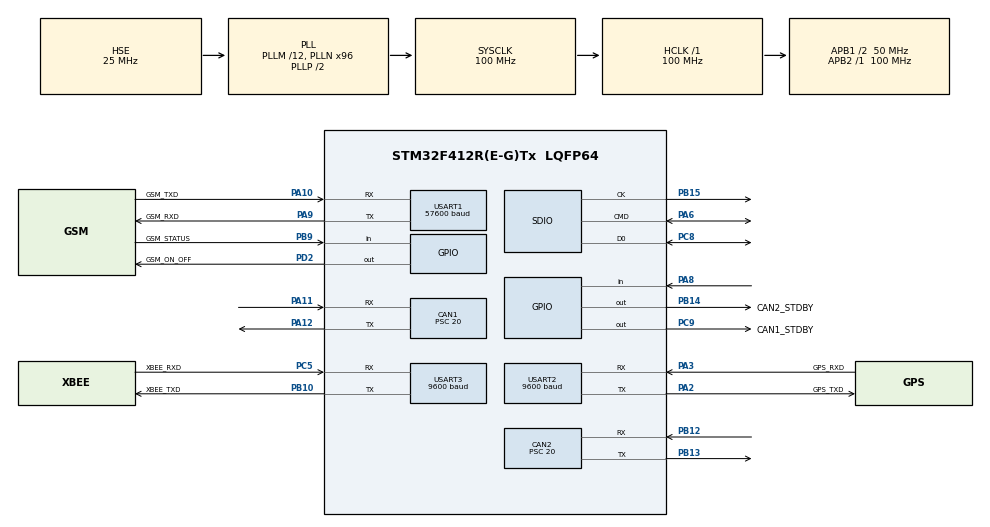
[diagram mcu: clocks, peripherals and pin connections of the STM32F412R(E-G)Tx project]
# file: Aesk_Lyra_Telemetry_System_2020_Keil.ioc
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CAN1.ABOM=ENABLE
CAN1.BS1=CAN_BS1_8TQ
CAN1.CalculateTimeQuantum=400.0
CAN1.Prescaler=20
CAN2.ABOM=ENABLE
CAN2.BS1=CAN_BS1_8TQ
CAN2.CalculateTimeQuantum=400.0
CAN2.Prescaler=20
Dma.Request0=SDIO_TX
Dma.Request1=SDIO_RX
Dma.SDIO_RX.1.Direction=DMA_PERIPH_TO_MEMORY
Dma.SDIO_RX.1.FIFOMode=DMA_FIFOMODE_ENABLE
Dma.SDIO_RX.1.FIFOThreshold=DMA_FIFO_THRESHOLD_FULL
Dma.SDIO_RX.1.Instance=DMA2_Stream6
Dma.SDIO_RX.1.MemBurst=DMA_MBURST_INC4
Dma.SDIO_RX.1.MemDataAlignment=DMA_MDATAALIGN_WORD
Dma.SDIO_RX.1.MemInc=DMA_MINC_ENABLE
Dma.SDIO_RX.1.Mode=DMA_PFCTRL
Dma.SDIO_RX.1.PeriphBurst=DMA_PBURST_INC4
Dma.SDIO_RX.1.PeriphDataAlignment=DMA_PDATAALIGN_WORD
Dma.SDIO_RX.1.PeriphInc=DMA_PINC_DISABLE
Dma.SDIO_RX.1.Priority=DMA_PRIORITY_LOW
Dma.SDIO_TX.0.Direction=DMA_MEMORY_TO_PERIPH
Dma.SDIO_TX.0.FIFOMode=DMA_FIFOMODE_ENABLE
Dma.SDIO_TX.0.FIFOThreshold=DMA_FIFO_THRESHOLD_FULL
Dma.SDIO_TX.0.Instance=DMA2_Stream3
Dma.SDIO_TX.0.MemBurst=DMA_MBURST_INC4
Dma.SDIO_TX.0.MemDataAlignment=DMA_MDATAALIGN_WORD
Dma.SDIO_TX.0.MemInc=DMA_MINC_ENABLE
Dma.SDIO_TX.0.Mode=DMA_PFCTRL
Dma.SDIO_TX.0.PeriphBurst=DMA_PBURST_INC4
Dma.SDIO_TX.0.PeriphDataAlignment=DMA_PDATAALIGN_WORD
Dma.SDIO_TX.0.PeriphInc=DMA_PINC_DISABLE
Dma.SDIO_TX.0.Priority=DMA_PRIORITY_LOW
FATFS._MAX_SS=4096
FATFS._USE_LFN=1
FATFS._USE_STRFUNC=2
Mcu.Family=STM32F4
Mcu.Name=STM32F412R(E-G)Tx
Mcu.Package=LQFP64
NVIC.CAN1_RX0_IRQn=true\:0\:0\:false\:false\:true\:true\:true
NVIC.CAN1_RX1_IRQn=true\:0\:0\:false\:false\:true\:true\:true
NVIC.CAN2_RX0_IRQn=true\:0\:0\:false\:false\:true\:true\:true
NVIC.CAN2_RX1_IRQn=true\:0\:0\:false\:false\:true\:true\:true
NVIC.DMA2_Stream3_IRQn=true\:0\:0\:false\:false\:true\:false\:true
NVIC.DMA2_Stream6_IRQn=true\:0\:0\:false\:false\:true\:false\:true
NVIC.PriorityGroup=NVIC_PRIORITYGROUP_4
NVIC.SDIO_IRQn=true\:0\:0\:false\:false\:true\:true\:true
NVIC.TIM6_IRQn=true\:2\:0\:true\:false\:true\:true\:true
NVIC.USART1_IRQn=true\:1\:0\:true\:false\:true\:true\:true
NVIC.USART2_IRQn=true\:1\:0\:true\:false\:true\:true\:true
NVIC.USART3_IRQn=true\:3\:0\:true\:false\:true\:true\:true
PA10.GPIO_Label=GSM_TXD
PA10.Mode=Asynchronous
PA10.Signal=USART1_RX
PA11.Mode=Master
PA11.Signal=CAN1_RX
PA12.Mode=Master
PA12.Signal=CAN1_TX
PA13.Mode=Serial_Wire
PA13.Signal=SYS_JTMS-SWDIO
PA14.Mode=Serial_Wire
PA14.Signal=SYS_JTCK-SWCLK
PA2.GPIO_Label=GPS_TXD
PA2.Mode=Asynchronous
PA2.Signal=USART2_TX
PA3.GPIO_Label=GPS_RXD
PA3.Mode=Asynchronous
PA3.Signal=USART2_RX
PA6.Mode=SD_1_bit
PA6.Signal=SDIO_CMD
PA8.Signal=GPIO_Input
PA9.GPIO_Label=GSM_RXD
PA9.Mode=Asynchronous
PA9.Signal=USART1_TX
PB10.GPIO_Label=XBEE_TXD
PB10.Mode=Asynchronous
PB10.Signal=USART3_TX
PB12.Mode=Slave
PB12.Signal=CAN2_RX
PB13.Mode=Slave
PB13.Signal=CAN2_TX
PB14.GPIO_Label=CAN2_STDBY
PB14.Signal=GPIO_Output
PB15.Mode=SD_1_bit
PB15.Signal=SDIO_CK
PB9.GPIO_Label=GSM_STATUS
PB9.GPIO_PuPd=GPIO_PULLDOWN
PB9.Signal=GPIO_Input
PC14-OSC32_IN.Mode=LSE-External-Oscillator
PC14-OSC32_IN.Signal=RCC_OSC32_IN
PC15-OSC32_OUT.Mode=LSE-External-Oscillator
PC15-OSC32_OUT.Signal=RCC_OSC32_OUT
PC5.GPIO_Label=XBEE_RXD
PC5.Mode=Asynchronous
PC5.Signal=USART3_RX
PC8.Mode=SD_1_bit
PC8.Signal=SDIO_D0
PC9.GPIO_Label=CAN1_STDBY
PC9.Signal=GPIO_Output
PD2.GPIO_Label=GSM_ON_OFF
PD2.Signal=GPIO_Output
PH0\ -\ OSC_IN.Mode=HSE-External-Oscillator
PH0\ -\ OSC_IN.Signal=RCC_OSC_IN
PH1\ -\ OSC_OUT.Mode=HSE-External-Oscillator
PH1\ -\ OSC_OUT.Signal=RCC_OSC_OUT
ProjectManager.HeapSize=0x200
ProjectManager.StackSize=0x400
ProjectManager.TargetToolchain=MDK-ARM V5.27
RCC.AHBFreq_Value=100000000
RCC.APB1CLKDivider=RCC_HCLK_DIV2
RCC.APB1Freq_Value=50000000
RCC.APB1TimFreq_Value=100000000
RCC.APB2Freq_Value=100000000
RCC.APB2TimFreq_Value=100000000
RCC.CortexFreq_Value=100000000
RCC.HCLKFreq_Value=100000000
RCC.PLLM=12
RCC.PLLN=96
RCC.PLLQ=4
RCC.PLLSourceVirtual=RCC_PLLSOURCE_HSE
RCC.RCC_RTC_Clock_Source=RCC_RTCCLKSOURCE_LSE
RCC.RCC_RTC_Clock_SourceVirtual=RCC_RTCCLKSOURCE_LSE
RCC.SYSCLKFreq_VALUE=100000000
RCC.SYSCLKSource=RCC_SYSCLKSOURCE_PLLCLK
RCC.USBFreq_Value=50000000
RCC.VCOOutputFreq_Value=200000000
TIM6.Period=99
TIM6.Prescaler=999
USART1.BaudRate=57600
USART1.VirtualMode=VM_ASYNC
USART2.BaudRate=9600
USART2.VirtualMode=VM_ASYNC
USART3.BaudRate=9600
USART3.VirtualMode=VM_ASYNC
VP_FATFS_VS_SDIO.Mode=SDIO
VP_RTC_VS_RTC_Activate.Mode=RTC_Enabled
VP_TIM6_VS_ClockSourceINT.Mode=Enable_Timer
board=custom

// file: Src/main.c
/* USER CODE BEGIN Header */
/**
  ******************************************************************************
  * @file           : main.c
  * @brief          : Main program body
  ******************************************************************************
  * @attention
  *
  * <h2><center>&copy; Copyright (c) 2020 STMicroelectronics.
  * All rights reserved.</center></h2>
  *
  * This software component is licensed by ST under Ultimate Liberty license
  * SLA0044, the "License"; You may not use this file except in compliance with
  * the License. You may obtain a copy of the License at:
  *                             www.st.com/SLA0044
  *
  ******************************************************************************
  */
/* USER CODE END Header */

#include "main.h"
#include "fatfs.h"

/* USER CODE BEGIN Includes */
#include "stdio.h"
#include "SIM800MQTT.h"
#include "AESK_CAN_Library.h"
#include "AESK_Gps_lib.h"
#include "TelemetryGlobalvar.h"
#include "Can_Lyra_Header.h"
#include "AESK_Data_Pack_lib.h"
#include "stdarg.h"
/* USER CODE END Includes */

CAN_HandleTypeDef hcan1;
CAN_HandleTypeDef hcan2;

RTC_HandleTypeDef hrtc;

SD_HandleTypeDef hsd;
DMA_HandleTypeDef hdma_sdio_tx;
DMA_HandleTypeDef hdma_sdio_rx;

TIM_HandleTypeDef htim6;

UART_HandleTypeDef huart1;
UART_HandleTypeDef huart2;
UART_HandleTypeDef huart3;

/* USER CODE BEGIN PV */
int SetTime = 0;
int SetDate = 0;
AESK_CAN_Struct aesk_can;
Time_Task_union time_task;
Xbee_Datas xbee_data;
Gsm_Datas gsm_data;
MQTTPacket_connectData connectData = MQTTPacket_connectData_initializer;
MQTTString topicString = MQTTString_initializer;
LyraDatas lyradata;
Sd_Card_Datas sd_card_data;
GPS_Handle gps_data;

RTC_TimeTypeDef rtctime;
RTC_DateTypeDef rtcdate;

RTC_TimeTypeDef sTime;
RTC_DateTypeDef sDate;

/* USER CODE END PV */

void SystemClock_Config(void);
static void MX_GPIO_Init(void);
static void MX_IT_Init(void);
static void MX_CAN1_Init(void);
static void MX_CAN2_Init(void);
static void MX_SDIO_SD_Init(void);
static void MX_TIM6_Init(void);
static void MX_USART1_UART_Init(void);
static void MX_USART2_UART_Init(void);
static void MX_USART3_UART_Init(void);
static void MX_RTC_Init(void);
/* USER CODE BEGIN PFP */
void Gsm_Calibration(Gsm_Datas* gsm_data);
void createMQTTPackage(LyraDatas *lyradata, GPS_Handle*gps_data, uint8_t* packBuf, uint16_t *index);
void RTC_Set_Time_Date(void);
void vars_to_str(char *buffer, const char *format, ...);

/* USER CODE END PFP */

int main(void)
{

  /* MCU Configuration--------------------------------------------------------*/

  /* Reset of all peripherals, Initializes the Flash interface and the Systick. */
  HAL_Init();

  /* Configure the system clock */
  SystemClock_Config();

  /* Initialize all configured peripherals */
  MX_GPIO_Init();
  MX_IT_Init();
  MX_CAN1_Init();
  MX_CAN2_Init();
  MX_SDIO_SD_Init();
  MX_TIM6_Init();
  MX_USART1_UART_Init();
  MX_USART2_UART_Init();
  MX_USART3_UART_Init();
  MX_RTC_Init();
  MX_FATFS_Init();
  /* USER CODE BEGIN 2 */
   gsm_data.gsm_uart = &huart1;
   MX_RTC_Init();
   RTC_Set_Time_Date();

   if(f_mount(&sd_card_data.myFATAFS,(TCHAR const *)SDPath, 1) == FR_OK)
   {
	   HAL_RTC_GetTime(&hrtc, &sTime, RTC_FORMAT_BIN);
	   HAL_RTC_GetDate(&hrtc, &sDate, RTC_FORMAT_BIN);
	   vars_to_str(sd_card_data.path, "%d_%d_%d_%d_%d_%d_(%d).txt", sDate.Date, sDate.Month, sDate.Year, sTime.Hours, sTime.Minutes, sTime.Seconds, sd_card_data.logger_u32);
	   sd_card_data.state = SD_Card_Detect;
   }

   if((GSM_STATUS_GPIO_Port->IDR & GSM_STATUS_Pin) == (uint32_t)GPIO_PIN_RESET)
   {
			GSM_ON_OFF_GPIO_Port->BSRR = GSM_ON_OFF_Pin;
	    HAL_Delay(1500);
	    GSM_ON_OFF_GPIO_Port->BSRR = GSM_ON_OFF_Pin << 16U;
   }

   else
   {
			HAL_UART_Transmit(gsm_data.gsm_uart, (uint8_t*)RESET_AT_COMMAND, (uint16_t)strlen(RESET_AT_COMMAND), HAL_DELAY);
   }

   while((GSM_STATUS_GPIO_Port->IDR & GSM_STATUS_Pin) == (uint32_t)GPIO_PIN_RESET)
   {
	   ;
   }

		AESK_CAN_ExtIDListFilterConfiguration(&aesk_can, DRIVER_CUR_VOLT, CAN_RX_FIFO0, 0);
		AESK_CAN_ExtIDListFilterConfiguration(&aesk_can, DRIVER_STATE_AREA, CAN_RX_FIFO0, 2);
		AESK_CAN_ExtIDListFilterConfiguration(&aesk_can, BMS_MEASUREMENTS, CAN_RX_FIFO0, 6);
		AESK_CAN_ExtIDListFilterConfiguration(&aesk_can, BMS_STATE_DATA, CAN_RX_FIFO0, 7);
	  AESK_CAN_Init(&aesk_can, CAN_IT_RX_FIFO0_MSG_PENDING);
  /* CAN1 WAKE - CAN2 SLEEP*/
		CAN2_STDBY_GPIO_Port->BSRR = CAN2_STDBY_Pin;
		CAN1_STDBY_GPIO_Port->BSRR = (uint32_t)CAN1_STDBY_Pin << 16U;
  //////////////////////////
    HAL_UART_Receive_IT(gsm_data.gsm_uart, &gsm_data.receivegsmdata, 1);
    HAL_UART_Receive_IT(&huart3, &xbee_data.receiveData, 1);
    HAL_UART_Receive_IT(&huart2, &gps_data.uartReceiveData_u8, 1);
    HAL_TIM_Base_Start_IT(&htim6);
  /* USER CODE END 2 */

  /* Infinite loop */
  while (1)
  {

    /* USER CODE BEGIN 3 */
	  if(time_task.Time_Task.Task_60_ms == TRUE)
	  {
		  Gsm_Calibration(&gsm_data);
		  time_task.Time_Task.Task_60_ms = FALSE;
	  }

	  if(time_task.Time_Task.Task_50_ms == TRUE)
	  {
		  if(sd_card_data.state == SD_Card_Detect)
		  {

			  HAL_RTC_GetTime(&hrtc, &sTime, RTC_FORMAT_BIN);
			  HAL_RTC_GetDate(&hrtc, &sDate, RTC_FORMAT_BIN);
			  vars_to_str((char *)sd_card_data.transmitBuf, "%d$%d$%d$%.2f$%.2f$%.2f$%.1f$%.2f$%.2f$%.2f$%.2f$%d$%d$%d$%d$%d$%.1f$%.2f$%.1f$%.2f$%d$%d$%.1f$%d$%d$%.6f$%.6f$%d$%d$%d$%d$%d\n",
				 					 	 	 	 	 	 	 	 	 	 	 lyradata.vcu_data.wake_up_union.wake_up_u8, lyradata.vcu_data.drive_command_union.drive_command_u8, lyradata.vcu_data.set_velocity_u8,
																			 lyradata.driver_data.Phase_A_Current_f32, lyradata.driver_data.Phase_B_Current_f32, lyradata.driver_data.Dc_Bus_Current_f32,
																			 lyradata.driver_data.Dc_Bus_voltage_f32, lyradata.driver_data.Id_f32, lyradata.driver_data.Iq_f32, lyradata.driver_data.Vd_f32, lyradata.driver_data.Vq_f32,
																			 lyradata.driver_data.drive_status_union.drive_status_u8, lyradata.driver_data.driver_error_union.driver_error_u8, lyradata.driver_data.Odometer_u32,
																			 lyradata.driver_data.Motor_Temperature_u8, lyradata.driver_data.actual_velocity_u8, lyradata.bms_data.Bat_Voltage_f32,
																			 lyradata.bms_data.Bat_Current_f32, lyradata.bms_data.Bat_Cons_f32, lyradata.bms_data.Soc_f32, lyradata.bms_data.bms_error.bms_error_u8,
																			 lyradata.bms_data.dc_bus_state.dc_bus_state_u8, lyradata.bms_data.Worst_Cell_Voltage_f32, lyradata.bms_data.Worst_Cell_Address_u8,
																			 lyradata.bms_data.Temperature_u8, gps_data.latitude_f32, gps_data.longtitude_f32, gps_data.speed_u8, gps_data.satellite_number_u8, gps_data.gpsEfficiency_u8,
																			 gps_data.gps_errorhandler.trueData_u32, gps_data.gps_errorhandler.checksumError_u32, gps_data.gps_errorhandler.validDataError_u32);
			  vars_to_str((char *)sd_card_data.total_log, "%d:%d:%d$", sTime.Hours, sTime.Minutes, sTime.Seconds);
			  strcat(sd_card_data.total_log, (const char*)sd_card_data.transmitBuf);
			  sd_card_data.result = f_open(&sd_card_data.myFile, sd_card_data.path, FA_WRITE | FA_OPEN_APPEND | FA_OPEN_EXISTING | FA_OPEN_ALWAYS);
			  f_write(&sd_card_data.myFile, sd_card_data.total_log, strlen(sd_card_data.total_log), (void*)&sd_card_data.writtenbyte);
			  if((sd_card_data.writtenbyte != 0) && (sd_card_data.result == FR_OK))
			  {
				  f_close(&sd_card_data.myFile);
				  SetTime++;
			  }

			  else
			  {
				  if(f_mount(&sd_card_data.myFATAFS,(TCHAR const *)SDPath, 1) == FR_OK)
				  {
					  sd_card_data.logger_u32++;
					  HAL_RTC_GetTime(&hrtc, &sTime, RTC_FORMAT_BIN);
					  HAL_RTC_GetDate(&hrtc, &sDate, RTC_FORMAT_BIN);
					  vars_to_str(sd_card_data.path, "%d_%d_%d_(%d).txt", sDate.Date, sDate.Month, sDate.Year, sd_card_data.logger_u32);
					  sd_card_data.state = SD_Card_Detect;
				  }
			  }
			}
	 		time_task.Time_Task.Task_50_ms = FALSE;
	 }
  }
  /* USER CODE END 3 */
}

void SystemClock_Config(void)
{
  RCC_OscInitTypeDef RCC_OscInitStruct = {0};
  RCC_ClkInitTypeDef RCC_ClkInitStruct = {0};
  RCC_PeriphCLKInitTypeDef PeriphClkInitStruct = {0};

  /** Configure the main internal regulator output voltage
  */
  __HAL_RCC_PWR_CLK_ENABLE();
  __HAL_PWR_VOLTAGESCALING_CONFIG(PWR_REGULATOR_VOLTAGE_SCALE1);
  /** Initializes the CPU, AHB and APB busses clocks
  */
  RCC_OscInitStruct.OscillatorType = RCC_OSCILLATORTYPE_HSE|RCC_OSCILLATORTYPE_LSE;
  RCC_OscInitStruct.HSEState = RCC_HSE_ON;
  RCC_OscInitStruct.LSEState = RCC_LSE_ON;
  RCC_OscInitStruct.PLL.PLLState = RCC_PLL_ON;
  RCC_OscInitStruct.PLL.PLLSource = RCC_PLLSOURCE_HSE;
  RCC_OscInitStruct.PLL.PLLM = 12;
  RCC_OscInitStruct.PLL.PLLN = 96;
  RCC_OscInitStruct.PLL.PLLP = RCC_PLLP_DIV2;
  RCC_OscInitStruct.PLL.PLLQ = 4;
  RCC_OscInitStruct.PLL.PLLR = 2;
  if (HAL_RCC_OscConfig(&RCC_OscInitStruct) != HAL_OK)
  {
    Error_Handler();
  }
  /** Initializes the CPU, AHB and APB busses clocks
  */
  RCC_ClkInitStruct.ClockType = RCC_CLOCKTYPE_HCLK|RCC_CLOCKTYPE_SYSCLK
                              |RCC_CLOCKTYPE_PCLK1|RCC_CLOCKTYPE_PCLK2;
  RCC_ClkInitStruct.SYSCLKSource = RCC_SYSCLKSOURCE_PLLCLK;
  RCC_ClkInitStruct.AHBCLKDivider = RCC_SYSCLK_DIV1;
  RCC_ClkInitStruct.APB1CLKDivider = RCC_HCLK_DIV2;
  RCC_ClkInitStruct.APB2CLKDivider = RCC_HCLK_DIV1;

  if (HAL_RCC_ClockConfig(&RCC_ClkInitStruct, FLASH_LATENCY_3) != HAL_OK)
  {
    Error_Handler();
  }
  PeriphClkInitStruct.PeriphClockSelection = RCC_PERIPHCLK_RTC|RCC_PERIPHCLK_SDIO
                              |RCC_PERIPHCLK_CLK48;
  PeriphClkInitStruct.RTCClockSelection = RCC_RTCCLKSOURCE_LSE;
  PeriphClkInitStruct.Clk48ClockSelection = RCC_CLK48CLKSOURCE_PLLQ;
  PeriphClkInitStruct.SdioClockSelection = RCC_SDIOCLKSOURCE_CLK48;
  if (HAL_RCCEx_PeriphCLKConfig(&PeriphClkInitStruct) != HAL_OK)
  {
    Error_Handler();
  }
}

static void MX_CAN1_Init(void)
{

  hcan1.Instance = CAN1;
  hcan1.Init.Prescaler = 20;
  hcan1.Init.Mode = CAN_MODE_NORMAL;
  hcan1.Init.SyncJumpWidth = CAN_SJW_1TQ;
  hcan1.Init.TimeSeg1 = CAN_BS1_8TQ;
  hcan1.Init.TimeSeg2 = CAN_BS2_1TQ;
  hcan1.Init.TimeTriggeredMode = DISABLE;
  hcan1.Init.AutoBusOff = ENABLE;
  hcan1.Init.AutoWakeUp = DISABLE;
  hcan1.Init.AutoRetransmission = DISABLE;
  hcan1.Init.ReceiveFifoLocked = DISABLE;
  hcan1.Init.TransmitFifoPriority = DISABLE;
  if (HAL_CAN_Init(&hcan1) != HAL_OK)
  {
    Error_Handler();
  }

}

static void MX_CAN2_Init(void)
{

  hcan2.Instance = CAN2;
  hcan2.Init.Prescaler = 20;
  hcan2.Init.Mode = CAN_MODE_NORMAL;
  hcan2.Init.SyncJumpWidth = CAN_SJW_1TQ;
  hcan2.Init.TimeSeg1 = CAN_BS1_8TQ;
  hcan2.Init.TimeSeg2 = CAN_BS2_1TQ;
  hcan2.Init.TimeTriggeredMode = DISABLE;
  hcan2.Init.AutoBusOff = ENABLE;
  hcan2.Init.AutoWakeUp = DISABLE;
  hcan2.Init.AutoRetransmission = DISABLE;
  hcan2.Init.ReceiveFifoLocked = DISABLE;
  hcan2.Init.TransmitFifoPriority = DISABLE;
  if (HAL_CAN_Init(&hcan2) != HAL_OK)
  {
    Error_Handler();
  }

}

static void MX_RTC_Init(void)
{

  /** Initialize RTC Only
  */
  hrtc.Instance = RTC;
  hrtc.Init.HourFormat = RTC_HOURFORMAT_24;
  hrtc.Init.AsynchPrediv = 127;
  hrtc.Init.SynchPrediv = 255;
  hrtc.Init.OutPut = RTC_OUTPUT_DISABLE;
  hrtc.Init.OutPutPolarity = RTC_OUTPUT_POLARITY_HIGH;
  hrtc.Init.OutPutType = RTC_OUTPUT_TYPE_OPENDRAIN;
  if (HAL_RTC_Init(&hrtc) != HAL_OK)
  {
    Error_Handler();
  }

}

static void MX_SDIO_SD_Init(void)
{

  hsd.Instance = SDIO;
  hsd.Init.ClockEdge = SDIO_CLOCK_EDGE_RISING;
  hsd.Init.ClockBypass = SDIO_CLOCK_BYPASS_DISABLE;
  hsd.Init.ClockPowerSave = SDIO_CLOCK_POWER_SAVE_DISABLE;
  hsd.Init.BusWide = SDIO_BUS_WIDE_1B;
  hsd.Init.HardwareFlowControl = SDIO_HARDWARE_FLOW_CONTROL_DISABLE;
  hsd.Init.ClockDiv = 0;

}

static void MX_TIM6_Init(void)
{

  TIM_MasterConfigTypeDef sMasterConfig = {0};

  htim6.Instance = TIM6;
  htim6.Init.Prescaler = 999;
  htim6.Init.CounterMode = TIM_COUNTERMODE_UP;
  htim6.Init.Period = 99;
  htim6.Init.AutoReloadPreload = TIM_AUTORELOAD_PRELOAD_DISABLE;
  if (HAL_TIM_Base_Init(&htim6) != HAL_OK)
  {
    Error_Handler();
  }
  sMasterConfig.MasterOutputTrigger = TIM_TRGO_RESET;
  sMasterConfig.MasterSlaveMode = TIM_MASTERSLAVEMODE_DISABLE;
  if (HAL_TIMEx_MasterConfigSynchronization(&htim6, &sMasterConfig) != HAL_OK)
  {
    Error_Handler();
  }

}

static void MX_USART1_UART_Init(void)
{

  huart1.Instance = USART1;
  huart1.Init.BaudRate = 57600;
  huart1.Init.WordLength = UART_WORDLENGTH_8B;
  huart1.Init.StopBits = UART_STOPBITS_1;
  huart1.Init.Parity = UART_PARITY_NONE;
  huart1.Init.Mode = UART_MODE_TX_RX;
  huart1.Init.HwFlowCtl = UART_HWCONTROL_NONE;
  huart1.Init.OverSampling = UART_OVERSAMPLING_16;
  if (HAL_UART_Init(&huart1) != HAL_OK)
  {
    Error_Handler();
  }

}

static void MX_USART2_UART_Init(void)
{

  huart2.Instance = USART2;
  huart2.Init.BaudRate = 9600;
  huart2.Init.WordLength = UART_WORDLENGTH_8B;
  huart2.Init.StopBits = UART_STOPBITS_1;
  huart2.Init.Parity = UART_PARITY_NONE;
  huart2.Init.Mode = UART_MODE_TX_RX;
  huart2.Init.HwFlowCtl = UART_HWCONTROL_NONE;
  huart2.Init.OverSampling = UART_OVERSAMPLING_16;
  if (HAL_UART_Init(&huart2) != HAL_OK)
  {
    Error_Handler();
  }

}

static void MX_USART3_UART_Init(void)
{

  huart3.Instance = USART3;
  huart3.Init.BaudRate = 9600;
  huart3.Init.WordLength = UART_WORDLENGTH_8B;
  huart3.Init.StopBits = UART_STOPBITS_1;
  huart3.Init.Parity = UART_PARITY_NONE;
  huart3.Init.Mode = UART_MODE_TX_RX;
  huart3.Init.HwFlowCtl = UART_HWCONTROL_NONE;
  huart3.Init.OverSampling = UART_OVERSAMPLING_16;
  if (HAL_UART_Init(&huart3) != HAL_OK)
  {
    Error_Handler();
  }

}

/**
  * Enable IT controller clock
  */
static void MX_IT_Init(void)
{

  /* IT controller clock enable */
  __HAL_RCC_DMA2_CLK_ENABLE();

  /* IT interrupt init */
  /* IT2_Stream3_IRQn interrupt configuration */
  HAL_NVIC_SetPriority(DMA2_Stream3_IRQn, 0, 0);
  HAL_NVIC_EnableIRQ(DMA2_Stream3_IRQn);
  /* IT2_Stream6_IRQn interrupt configuration */
  HAL_NVIC_SetPriority(DMA2_Stream6_IRQn, 0, 0);
  HAL_NVIC_EnableIRQ(DMA2_Stream6_IRQn);

}

static void MX_GPIO_Init(void)
{
  GPIO_InitTypeDef GPIO_InitStruct = {0};

  /* GPIO Ports Clock Enable */
  __HAL_RCC_GPIOC_CLK_ENABLE();
  __HAL_RCC_GPIOH_CLK_ENABLE();
  __HAL_RCC_GPIOA_CLK_ENABLE();
  __HAL_RCC_GPIOB_CLK_ENABLE();
  __HAL_RCC_GPIOD_CLK_ENABLE();

  /*Configure GPIO pin Output Level */
  HAL_GPIO_WritePin(CAN2_STDBY_GPIO_Port, CAN2_STDBY_Pin, GPIO_PIN_RESET);

  /*Configure GPIO pin Output Level */
  HAL_GPIO_WritePin(CAN1_STDBY_GPIO_Port, CAN1_STDBY_Pin, GPIO_PIN_RESET);

  /*Configure GPIO pin Output Level */
  HAL_GPIO_WritePin(GSM_ON_OFF_GPIO_Port, GSM_ON_OFF_Pin, GPIO_PIN_RESET);

  /*Configure GPIO pin : CAN2_STDBY_Pin */
  GPIO_InitStruct.Pin = CAN2_STDBY_Pin;
  GPIO_InitStruct.Mode = GPIO_MODE_OUTPUT_PP;
  GPIO_InitStruct.Pull = GPIO_NOPULL;
  GPIO_InitStruct.Speed = GPIO_SPEED_FREQ_LOW;
  HAL_GPIO_Init(CAN2_STDBY_GPIO_Port, &GPIO_InitStruct);

  /*Configure GPIO pin : CAN1_STDBY_Pin */
  GPIO_InitStruct.Pin = CAN1_STDBY_Pin;
  GPIO_InitStruct.Mode = GPIO_MODE_OUTPUT_PP;
  GPIO_InitStruct.Pull = GPIO_NOPULL;
  GPIO_InitStruct.Speed = GPIO_SPEED_FREQ_LOW;
  HAL_GPIO_Init(CAN1_STDBY_GPIO_Port, &GPIO_InitStruct);

  /*Configure GPIO pin : PA8 */
  GPIO_InitStruct.Pin = GPIO_PIN_8;
  GPIO_InitStruct.Mode = GPIO_MODE_INPUT;
  GPIO_InitStruct.Pull = GPIO_NOPULL;
  HAL_GPIO_Init(GPIOA, &GPIO_InitStruct);

  /*Configure GPIO pin : GSM_ON_OFF_Pin */
  GPIO_InitStruct.Pin = GSM_ON_OFF_Pin;
  GPIO_InitStruct.Mode = GPIO_MODE_OUTPUT_PP;
  GPIO_InitStruct.Pull = GPIO_NOPULL;
  GPIO_InitStruct.Speed = GPIO_SPEED_FREQ_LOW;
  HAL_GPIO_Init(GSM_ON_OFF_GPIO_Port, &GPIO_InitStruct);

  /*Configure GPIO pin : GSM_STATUS_Pin */
  GPIO_InitStruct.Pin = GSM_STATUS_Pin;
  GPIO_InitStruct.Mode = GPIO_MODE_INPUT;
  GPIO_InitStruct.Pull = GPIO_PULLDOWN;
  HAL_GPIO_Init(GSM_STATUS_GPIO_Port, &GPIO_InitStruct);

}

/* USER CODE BEGIN 4 */

void HAL_TIM_PeriodElapsedCallback(TIM_HandleTypeDef *htim)
{
	static uint32_t  task_counter_50_ms = 0;
	static uint32_t task_counter_60_ms = 0;
	task_counter_60_ms++;
	task_counter_50_ms++;

	if(task_counter_50_ms == 50)
	{
		time_task.Time_Task.Task_50_ms = TRUE;
		task_counter_50_ms = 0;
	}

	if(task_counter_60_ms == 60)
	{
		time_task.Time_Task.Task_60_ms = TRUE;
		task_counter_60_ms = 0;
	}
}

void HAL_UART_RxCpltCallback(UART_HandleTypeDef *huart)
{
	switch((uint32_t)huart->Instance)
	{

		case (uint32_t)USART1:
		{
			static uint8_t cifsr_control = 0;

			gsm_data.gsmreceivebuffer[gsm_data.gsmreceivebuffer_index++] = gsm_data.receivegsmdata;
			if(gsm_data.gsm_state_next_index != CreateMQTTPublishPack && (strstr((const char *)gsm_data.gsmreceivebuffer, gsm_data.at_response) != NULL))
			{
				gsm_data.gsm_state_current_index = gsm_data.gsm_state_next_index;
				memset(gsm_data.gsmreceivebuffer, 0, sizeof(gsm_data.gsmreceivebuffer));
				gsm_data.gsmreceivebuffer_index = 0;
			}

			else if(gsm_data.gsm_state_next_index == CreateMQTTPublishPack && (strstr((const char *)gsm_data.gsmreceivebuffer, "SE") != NULL))
			{
				gsm_data.gsm_state_current_index = gsm_data.gsm_state_next_index;
				memset(gsm_data.gsmreceivebuffer, 0, sizeof(gsm_data.gsmreceivebuffer));
				gsm_data.gsmreceivebuffer_index = 0;
			}

			else if(strstr((const char *)gsm_data.gsmreceivebuffer, (const char *)"ERROR") != NULL)
			{
				gsm_data.gsm_state_current_index = gsm_data.gsm_state_next_index - 1;
				memset(gsm_data.gsmreceivebuffer, 0, sizeof(gsm_data.gsmreceivebuffer));
				gsm_data.gsmreceivebuffer_index = 0;
			}

			if(gsm_data.receivegsmdata =='.')
			{
				cifsr_control++;
			}

			if(cifsr_control == 3 && gsm_data.receivegsmdata == '\n')
			{
				gsm_data.gsm_state_current_index = gsm_data.gsm_state_next_index;
				memset(gsm_data.gsmreceivebuffer, 0, sizeof(gsm_data.gsmreceivebuffer));
				gsm_data.gsmreceivebuffer_index = 0;
				cifsr_control = 0;
			}

			if(gsm_data.gsm_state_next_index == SendMQTTPublishPack && gsm_data.receivegsmdata == '>')
			{

				gsm_data.gsm_state_current_index = gsm_data.gsm_state_next_index;
				memset(gsm_data.gsmreceivebuffer, 0, sizeof(gsm_data.gsmreceivebuffer));
				gsm_data.gsmreceivebuffer_index = 0;
			}

			if(gsm_data.gsmreceivebuffer_index == 31)
			{
				memset(gsm_data.gsmreceivebuffer, 0, sizeof(gsm_data.gsmreceivebuffer));
				gsm_data.gsmreceivebuffer_index = 0;
			}
			HAL_UART_Receive_IT(gsm_data.gsm_uart, &gsm_data.receivegsmdata, 1);
			break;
		}

		case (uint32_t)USART2 :
		{
			GPS_Control(&gps_data);
			HAL_UART_Receive_IT(&huart2, &gps_data.uartReceiveData_u8, 1);
			break;
		}

		case (uint32_t)USART3 :
		{
			switch(xbee_data.states)
			{
				case ID_Control :
				{
					if(xbee_data.receiveData == FIRST_CONTROL_BYTE)
					{
						xbee_data.states = Reset_Data_Control;
					}
				break;
				}
				case Reset_Data_Control:
				{
					if(xbee_data.receiveData == SECOND_CONTROL_BYTE)
					{
						xbee_data.states = End_Communication_Control_1;
					}
					else
					{
						xbee_data.states = Reset_Data_Control;
					}
					break;
				}
				case End_Communication_Control_1:
				{
					if(xbee_data.receiveData == FIRST_COMMAND)
					{
						xbee_data.states = End_Communication_Control_2;
					}
					else
					{
						xbee_data.states = Reset_Data_Control;
					}
					break;
				}

				case End_Communication_Control_2:
				{
					if(xbee_data.receiveData == SECOND_COMMAND)
					{
						gsm_data.gsm_state_current_index = GsmOnOffSet;
					}
					else
					{
						xbee_data.states = Reset_Data_Control;
					}
					break;
				}
			}
			HAL_UART_Receive_IT(&huart3, &xbee_data.receiveData, 1);
			break;
		}
	}
}

void Gsm_Calibration(Gsm_Datas* gsm_data)
{
	switch(gsm_data->gsm_state_current_index)
	{
		case SerialCommunicationControl :
		{
			SendATCommand(gsm_data, "AT\r\n", "OK\r\n");
			gsm_data->gsm_state_next_index = SerialEchoOff;
			gsm_data->gsm_state_current_index = SerialCommunicationControl;
			break;
		}

		case SerialEchoOff :
		{
			SendATCommand(gsm_data, "ATE0\r\n", "OK\r\n");
			gsm_data->gsm_state_next_index = DeactiveGPRS;
			gsm_data->gsm_state_current_index = EmptyState;
			break;
		}

		case DeactiveGPRS :
		{
			SendATCommand(gsm_data, "AT+CIPSHUT\r\n", "SHUT OK\r\n");
			gsm_data->gsm_state_next_index = ConnectGPRS;
			gsm_data->gsm_state_current_index = EmptyState;
			break;
		}

		case ConnectGPRS :
		{
			SendATCommand(gsm_data, "AT+CGATT=1\r\n", "OK\r\n");
			gsm_data->gsm_state_next_index = SetGPRSProfile;
			gsm_data->gsm_state_current_index = EmptyState;
			break;
		}

		case SetGPRSProfile :
		{
			SendATCommand(gsm_data, "AT+CSTT=\"internet\",\"\",\"\"\r\n", "OK\r\n");
			gsm_data->gsm_state_next_index = BringUPGPRS;
			gsm_data->gsm_state_current_index = EmptyState;
			break;
		}

		case BringUPGPRS :
		{
			SendATCommand(gsm_data, "AT+CIICR\r\n", "OK\r\n");
			gsm_data->gsm_state_next_index = LearnSIM800IP;
			gsm_data->gsm_state_current_index = EmptyState;
			break;
		}

		case LearnSIM800IP :
		{
			SendATCommand(gsm_data, "AT+CIFSR\r\n", "OK\r\n");
			gsm_data->gsm_state_next_index = StartTCPConnect;
			gsm_data->gsm_state_current_index = EmptyState;
			break;
		}

		case StartTCPConnect :
		{
			SendATCommand(gsm_data, "AT+CIPSTART=\"TCP\",\"157.230.29.63\",\"1883\"\r\n", "CONNECT OK\r\n");
			gsm_data->gsm_state_next_index = CreateMQTTConnectPack;
			gsm_data->gsm_state_current_index = EmptyState;
			break;
		}

		case CreateMQTTConnectPack :
		{
			char atcommand[255];
			connectData.username.cstring = MQTT_USERNAME;
			connectData.password.cstring = MQTT_PASSWORd;
			connectData.clientID.cstring = MQTT_CLIENT_ID;
			connectData.keepAliveInterval = 60;
			connectData.cleansession = SendMQTTConnectPack;
			gsm_data->len =  MQTTSerialize_connect((unsigned char *)gsm_data->gsmconnectpackage, (int)sizeof(gsm_data->gsmconnectpackage),&connectData);
			sprintf(atcommand,(const char*)"AT+CIPSEND=%d\r\n", gsm_data->len);
			SendATCommand(gsm_data, atcommand, "\r\n>");
			gsm_data->gsm_state_next_index = SendMQTTConnectPack;
			gsm_data->gsm_state_current_index = EmptyState;
			break;
		}

		case SendMQTTConnectPack :
		{
			gsm_data->at_response = "SEND OK\r\n";
			HAL_UART_Transmit(gsm_data->gsm_uart, (uint8_t *)gsm_data->gsmconnectpackage, gsm_data->len, HAL_DELAY);
			gsm_data->gsm_state_next_index = CreateMQTTPublishPack;
			gsm_data->gsm_state_current_index = EmptyState;
			break;
		}

		case CreateMQTTPublishPack :
		{

		    topicString.cstring = MQTT_TOPIC;
		    char atcommand[255];
		    uint16_t index = 0;
		    createMQTTPackage(&lyradata, &gps_data, gsm_data->MQTTPackage, &index);
		    gsm_data->mqtt_len = MQTTSerialize_publish(gsm_data->gsmpublishpackage, (int)sizeof(gsm_data->gsmpublishpackage), 0, 0, 0, 0, topicString, gsm_data->MQTTPackage, index);
			sprintf(atcommand,(const char*)"AT+CIPSEND=%d\r\n", gsm_data->mqtt_len);
			SendATCommand(gsm_data, atcommand, ">");
			gsm_data->gsm_state_next_index = SendMQTTPublishPack;
			gsm_data->gsm_state_current_index = EmptyState;
			break;
		}

		case SendMQTTPublishPack :
		{

			HAL_UART_Transmit(gsm_data->gsm_uart, (uint8_t *)gsm_data->gsmpublishpackage, gsm_data->mqtt_len, HAL_DELAY);
			gsm_data->gsm_state_current_index = CreateMQTTPublishPack;
			gsm_data->gsm_state_next_index = EmptyState;
			break;
		}

		case GsmOnOffSet :
		{
			HAL_UART_Transmit(gsm_data->gsm_uart, (uint8_t*)RESET_AT_COMMAND, (uint16_t)strlen(RESET_AT_COMMAND), HAL_DELAY);
			gsm_data->gsm_state_current_index = Gsm1500msWait;
			break;
		}

		case Gsm1500msWait :
		{
			if((GSM_STATUS_GPIO_Port->IDR & GSM_STATUS_Pin) == (uint32_t)GPIO_PIN_RESET)
			{
				gsm_data->gsm_state_current_index = Gsm1500msWait;
			}

			else
			{
				gsm_data->gsm_state_current_index = SerialCommunicationControl;
			}
			break;
		}
	}
}

void createMQTTPackage(LyraDatas *lyradata, GPS_Handle*gps_data, uint8_t* packBuf, uint16_t *index)
{
	AESK_UINT8toUINT8CODE(&lyradata->vcu_data.wake_up_union.wake_up_u8, packBuf, index);
	AESK_UINT8toUINT8CODE(&lyradata->vcu_data.drive_command_union.drive_command_u8, packBuf, index);
	AESK_UINT8toUINT8CODE(&lyradata->vcu_data.set_velocity_u8, packBuf, index);
	int16_t phase_a_current_s16 = (int16_t)(lyradata->driver_data.Phase_A_Current_f32 * FLOAT_CONVERTER_2);
	int16_t phase_b_current_s16 = (int16_t)(lyradata->driver_data.Phase_B_Current_f32 * FLOAT_CONVERTER_2);
	uint16_t dc_bus_voltage_u16 = (uint16_t)(lyradata->driver_data.Dc_Bus_voltage_f32 * FLOAT_CONVERTER_1);
	int16_t dc_bus_current_s16 = (int16_t)(lyradata->driver_data.Dc_Bus_Current_f32 * FLOAT_CONVERTER_2);
	int16_t id_f32 = (int16_t)(lyradata->driver_data.Id_f32 * FLOAT_CONVERTER_2);
	int16_t iq_f32 = (int16_t)(lyradata->driver_data.Iq_f32 * FLOAT_CONVERTER_2);
	int16_t vd_f32 = (int16_t)(lyradata->driver_data.Vd_f32 * FLOAT_CONVERTER_2);
	int16_t vq_f32 = (int16_t)(lyradata->driver_data.Vq_f32 * FLOAT_CONVERTER_2);
	AESK_INT16toUINT8_LE(&phase_a_current_s16, packBuf, index);
	AESK_INT16toUINT8_LE(&phase_b_current_s16, packBuf, index);
	AESK_INT16toUINT8_LE(&dc_bus_current_s16, packBuf, index);
	AESK_UINT16toUINT8_LE(&dc_bus_voltage_u16, packBuf, index);
	AESK_INT16toUINT8_LE(&id_f32, packBuf, index);
	AESK_INT16toUINT8_LE(&iq_f32, packBuf, index);
	AESK_INT16toUINT8_LE(&vd_f32, packBuf, index);
	AESK_INT16toUINT8_LE(&vq_f32, packBuf, index);
	AESK_UINT8toUINT8CODE(&(lyradata->driver_data.drive_status_union.drive_status_u8), packBuf, index);
	AESK_UINT8toUINT8CODE(&(lyradata->driver_data.driver_error_union.driver_error_u8), packBuf, index);
	AESK_UINT32toUINT8_LE(&(lyradata->driver_data.Odometer_u32), packBuf, index);
	AESK_UINT8toUINT8CODE(&(lyradata->driver_data.Motor_Temperature_u8), packBuf, index);
	AESK_UINT8toUINT8CODE(&(lyradata->driver_data.actual_velocity_u8), packBuf, index);
	uint16_t bat_volt_u16 = (uint16_t)(lyradata->bms_data.Bat_Voltage_f32 * FLOAT_CONVERTER_1);
	int16_t  bat_cur_s16 = (int16_t)(lyradata->bms_data.Bat_Current_f32 * FLOAT_CONVERTER_2);
	uint16_t bat_cons_u16 = (uint16_t)(lyradata->bms_data.Bat_Cons_f32 * FLOAT_CONVERTER_1);
	uint16_t soc_u16 = (uint16_t)(lyradata->bms_data.Soc_f32 * FLOAT_CONVERTER_2);
	uint16_t worst_cell_voltage_u16 = (uint16_t)(lyradata->bms_data.Worst_Cell_Voltage_f32 * FLOAT_CONVERTER_1);
	AESK_UINT16toUINT8_LE(&bat_volt_u16, packBuf, index);
	AESK_INT16toUINT8_LE(&bat_cur_s16, packBuf, index);
	AESK_UINT16toUINT8_LE(&bat_cons_u16, packBuf, index);
	AESK_UINT16toUINT8_LE(&soc_u16, packBuf, index);
	AESK_UINT8toUINT8CODE(&(lyradata->bms_data.bms_error.bms_error_u8), packBuf, index);
	AESK_UINT8toUINT8CODE(&(lyradata->bms_data.dc_bus_state.dc_bus_state_u8), packBuf, index);
	AESK_UINT16toUINT8_LE(&worst_cell_voltage_u16, packBuf, index);
	AESK_UINT8toUINT8CODE(&(lyradata->bms_data.Worst_Cell_Address_u8), packBuf, index);
	AESK_UINT8toUINT8CODE(&(lyradata->bms_data.Temperature_u8), packBuf, index);
	AESK_FLOAT32toUINT8_LE(&(gps_data->latitude_f32), packBuf, index);
	AESK_FLOAT32toUINT8_LE(&(gps_data->longtitude_f32), packBuf, index);
	AESK_UINT8toUINT8CODE(&(gps_data->speed_u8), packBuf, index);
	AESK_UINT8toUINT8CODE(&(gps_data->satellite_number_u8), packBuf, index);
	AESK_UINT8toUINT8CODE(&(gps_data->gpsEfficiency_u8), packBuf, index);
	gsm_data.MQTT_Counter++;
	AESK_UINT32toUINT8_LE(&gsm_data.MQTT_Counter, packBuf, index);
}

void HAL_CAN_RxFifo0MsgPendingCallback(CAN_HandleTypeDef *hcan)
{
	AESK_CAN_ReadExtIDMessage(&aesk_can, CAN_RX_FIFO0);

	switch(aesk_can.rxMsg.ExtId)
	{
		case DRIVER_CUR_VOLT :
		{
			uint16_t driver_current_voltage_index = 0;
			AESK_INT16toFLOAT_LE(&lyradata.driver_data.Phase_A_Current_f32, aesk_can.receivedData, FLOAT_CONVERTER_2, &driver_current_voltage_index);
			AESK_INT16toFLOAT_LE(&lyradata.driver_data.Phase_B_Current_f32, aesk_can.receivedData, FLOAT_CONVERTER_2, &driver_current_voltage_index);
			AESK_INT16toFLOAT_LE(&lyradata.driver_data.Dc_Bus_Current_f32, aesk_can.receivedData, FLOAT_CONVERTER_2, &driver_current_voltage_index);
			AESK_INT16toFLOAT_LE(&lyradata.driver_data.Dc_Bus_voltage_f32, aesk_can.receivedData, FLOAT_CONVERTER_2, &driver_current_voltage_index);
			break;
		}

		case DRIVER_STATE_AREA :
		{
			uint16_t driver_state_area_index = 0;
			AESK_UINT8toUINT8ENCODE((uint8_t *)&lyradata.driver_data.drive_status_union.drive_status_u8,aesk_can.receivedData, &driver_state_area_index);
			AESK_UINT8toUINT8ENCODE((uint8_t *)&lyradata.driver_data.driver_error_union.driver_error_u8, aesk_can.receivedData, &driver_state_area_index);
			AESK_UINT8toUINT32_LE(&lyradata.driver_data.Odometer_u32, aesk_can.receivedData, &driver_state_area_index);
			AESK_UINT8toUINT8ENCODE(&lyradata.driver_data.Motor_Temperature_u8, aesk_can.receivedData, &driver_state_area_index);
			AESK_UINT8toUINT8ENCODE(&lyradata.driver_data.actual_velocity_u8, aesk_can.receivedData, &driver_state_area_index);
			break;
		}

		case BMS_MEASUREMENTS :
		{
			uint16_t bms_measurement_index = 0;
		    AESK_UINT16toFLOAT_LE(&lyradata.bms_data.Bat_Voltage_f32, aesk_can.receivedData, FLOAT_CONVERTER_1, &bms_measurement_index);
		    AESK_INT16toFLOAT_LE(&lyradata.bms_data.Bat_Current_f32, aesk_can.receivedData, FLOAT_CONVERTER_1, &bms_measurement_index);
		    AESK_UINT16toFLOAT_LE(&lyradata.bms_data.Bat_Cons_f32, aesk_can.receivedData, FLOAT_CONVERTER_1, &bms_measurement_index);
		    AESK_UINT16toFLOAT_LE(&lyradata.bms_data.Soc_f32, aesk_can.receivedData, FLOAT_CONVERTER_2, &bms_measurement_index);
			break;
		}

		case BMS_STATE_DATA :
		{
			uint16_t bms_state_data_index = 0;
		    AESK_UINT8toUINT8ENCODE(&lyradata.bms_data.bms_error.bms_error_u8, aesk_can.receivedData, &bms_state_data_index);
		    AESK_UINT8toUINT8ENCODE(&lyradata.bms_data.dc_bus_state.dc_bus_state_u8, aesk_can.receivedData, &bms_state_data_index);
		    AESK_UINT16toFLOAT_LE(&lyradata.bms_data.Worst_Cell_Voltage_f32, aesk_can.receivedData, FLOAT_CONVERTER_1, &bms_state_data_index);
		    AESK_UINT8toUINT8ENCODE(&lyradata.bms_data.Worst_Cell_Address_u8, aesk_can.receivedData, &bms_state_data_index);
		    AESK_UINT8toUINT8ENCODE(&lyradata.bms_data.Temperature_u8, aesk_can.receivedData, &bms_state_data_index);
			break;
		}
		default :
		{
			break;
		}
	}
}

void RTC_Set_Time_Date()
{
	if(SetTime == 1)
	{
	HAL_RTC_SetTime(&hrtc, &rtctime, RTC_FORMAT_BIN);
	SetTime = 0;
	}
	if(SetDate == 1)
	{
	HAL_RTC_SetDate(&hrtc, &rtcdate, RTC_FORMAT_BIN);
	SetDate = 0;
	}
}

void vars_to_str(char *buffer, const char *format, ...)
{
	va_list args;
	va_start (args, format);
	vsprintf (buffer, format, args);
	va_end (args);
}
/* USER CODE END 4 */

void Error_Handler(void)
{
}

/************************ (C) COPYRIGHT STMicroelectronics *****END OF FILE****/
